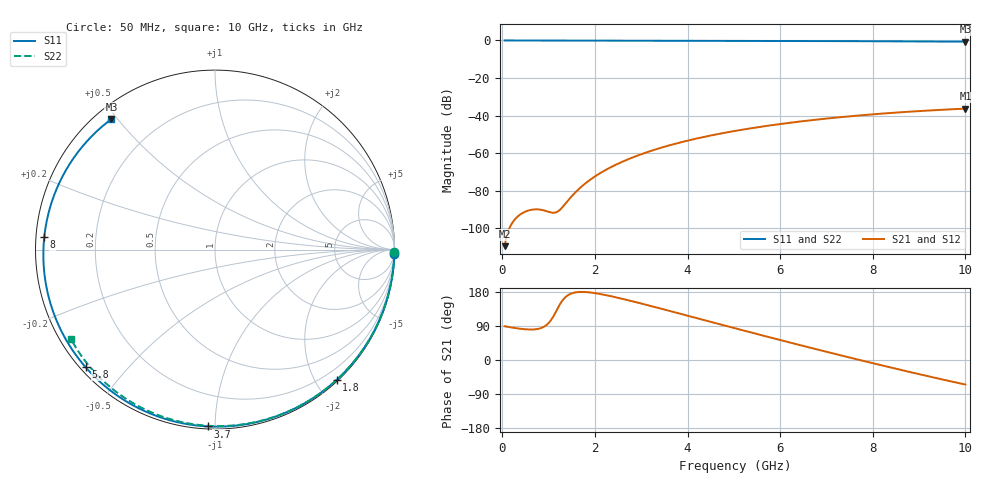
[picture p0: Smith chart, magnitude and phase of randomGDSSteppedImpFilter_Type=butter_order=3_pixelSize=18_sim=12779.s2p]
! freq	dB(S11)	phase(S11)	dB(S12)	phase(S12)
!  dB(S21)	phase(S21)	dB(S22)	phase(S22)
!S-par simulation data
#  GHz  S  DB  R 50
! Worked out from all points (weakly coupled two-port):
!   200 points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, 50 MHz to 10 GHz, reference 50 ohm
!   highest |S21| = -36.30 dB at 10 GHz (marker M1); lowest = -109.5 dB at 50 MHz (marker M2)
!   lowest |S11| = -0.6 dB at 10 GHz (marker M3), VSWR 26.91, Z = 2.29 + j24.1 ohm
!   |S11| at or under -10 dB: nowhere
!   |S22| runs from -0.5 to 0.0 dB; largest |S21 - S12| = 0
!   S11 on the Smith chart (normalised r, x): 50 MHz: 0, -85; 1.8 GHz: 0.02, -2.30; 3.7 GHz: 0.01, -0.96; 5.8 GHz: 0.01, -0.39; 8 GHz: 0.02, +0.04; 10 GHz: 0.05, +0.48
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0.05  -0.00 -1.3  -109.53 89.1  -109.53 89.1  -0.00 -0.9
0.4  -0.01 -10.7  -92.45 82.2  -92.45 82.2  -0.01 -6.9
0.8  -0.03 -21.2  -90.02 82.9  -90.02 82.9  -0.02 -13.7
1.2  -0.04 -31.7  -91.05 137.2  -91.05 137.2  -0.03 -20.5
1.6  -0.05 -41.9  -80.34 178.8  -80.34 178.8  -0.03 -27.2
1.75  -0.06 -45.7  -76.98 179.6  -76.98 179.6  -0.04 -29.7
1.8  -0.06 -47.0  -75.98 179.3  -75.98 179.3  -0.04 -30.5
2.1  -0.07 -54.5  -70.85 174.4  -70.85 174.4  -0.05 -35.5
2.5  -0.08 -64.3  -65.61 164.1  -65.61 164.1  -0.05 -42.0
2.9  -0.09 -73.9  -61.49 152.2  -61.49 152.2  -0.06 -48.5
3.4  -0.11 -85.6  -57.34 136.4  -57.34 136.4  -0.07 -56.4
3.7  -0.12 -92.4  -55.23 126.7  -55.23 126.7  -0.08 -61.1
4.35  -0.15 -106.8  -51.39 105.6  -51.39 105.6  -0.10 -71.0
5.05  -0.18 -121.9  -48.07 82.9  -48.07 82.9  -0.12 -81.4
5.8  -0.23 -137.7  -45.18 59.0  -45.18 59.0  -0.16 -92.1
6.7  -0.29 -156.4  -42.39 30.9  -42.39 30.9  -0.20 -104.6
7.35  -0.35 -170.1  -40.74 11.0  -40.74 11.0  -0.24 -113.4
8  -0.41 175.8  -39.33 -8.4  -39.33 -8.4  -0.29 -122.0
8.35  -0.45 168.1  -38.67 -18.7  -38.67 -18.7  -0.32 -126.7
9.15  -0.54 149.6  -37.38 -41.6  -37.38 -41.6  -0.40 -137.1
9.55  -0.59 139.8  -36.84 -52.7  -36.84 -52.7  -0.44 -142.3
10  -0.65 128.4  -36.30 -64.8  -36.30 -64.8  -0.49 -148.2
